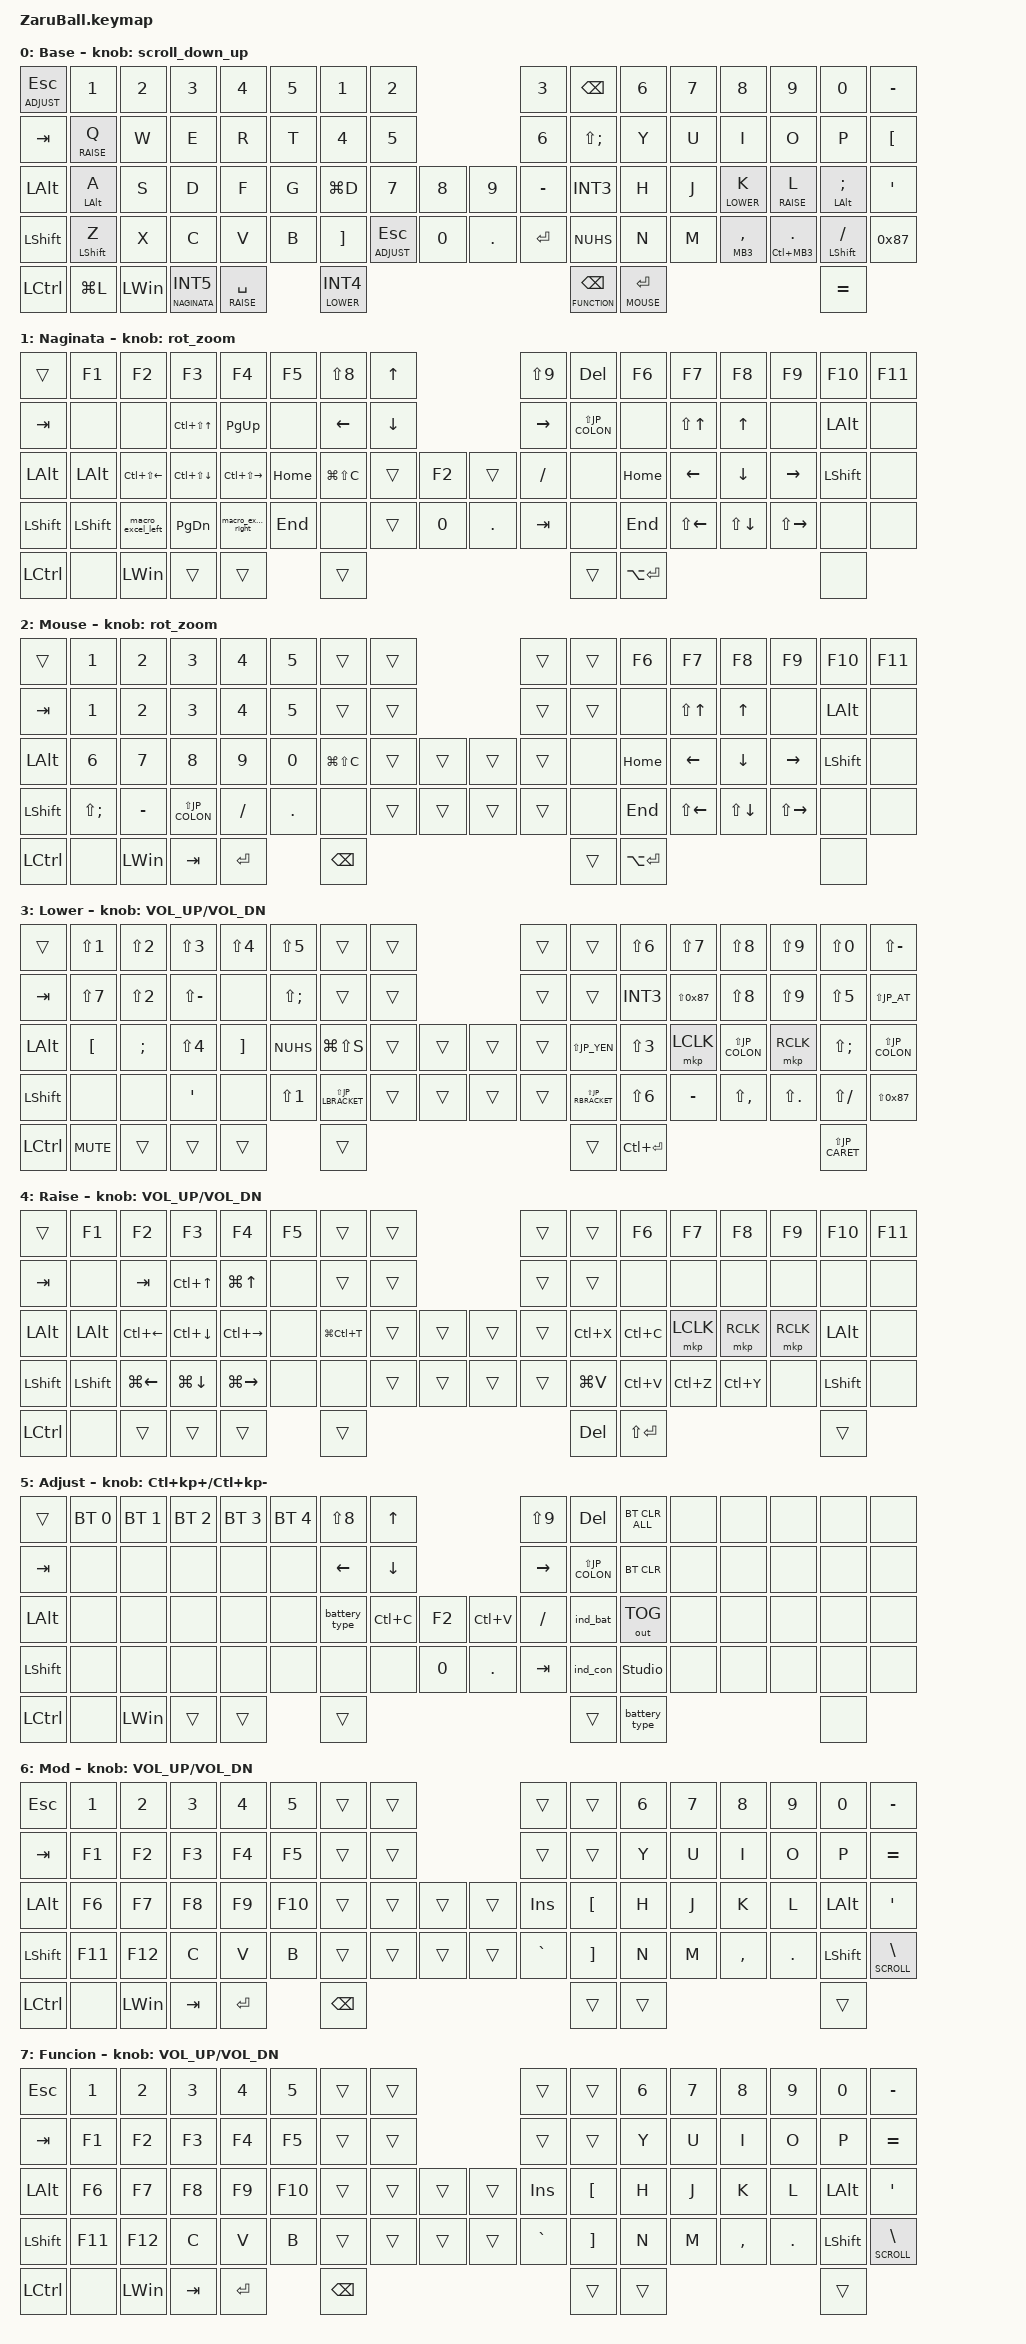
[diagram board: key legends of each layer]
//#include <dt-bindings/zmk/mouse.h>

#include <behaviors/rgbled_widget.dtsi>
#include <behaviors.dtsi>
#include <dt-bindings/zmk/bt.h>
#include <dt-bindings/zmk/keys.h>
#include <dt-bindings/zmk/outputs.h>
#include <dt-bindings/zmk/pointing.h>
//#include "behavior_battery_type.c"
//#include <behaviors/naginata.dtsi>

#include <input/processors.dtsi>
#include <dt-bindings/zmk/input_transform.h>

//&mt {
//    tapping-term-ms = <400>; // デフォルトは200msです。この数値を大きくするとHold判定が長くなります
//};

// -------------------------------------------------------------------------
// JIS変換定義 (OSが日本語配列設定の場合の出力マッピング)
// -------------------------------------------------------------------------
#define JP_AT           LBKT             // @ (USの [ キー)
#define JP_CARET        EQUAL            // ^ (USの = キー)
#define JP_YEN          INT3             // ¥ (JISの ¥ キー)
#define JP_PIPE         LS(INT3)         // | (Shift + ¥)
#define JP_COLON        SQT              // : (USの ' キー)
#define JP_LBRACKET     RBKT             // [ (USの ] キー)
#define JP_RBRACKET     NUHS             // ] (USの \ キー / Non-US #)
#define JP_UNDERSCORE   LS(INT1)         // _ (Shift + Ro)
#define JP_BACKSLASH    INT1             // \ (Roキー)

// Shiftが必要な記号
#define JP_DQUOTE       LS(N2)           // "
#define JP_AMPERSAND    LS(N6)           // &
#define JP_QUOTE        LS(N7)           // '
#define JP_LPAREN       LS(N8)           // (
#define JP_RPAREN       LS(N9)           // )
#define JP_EQUAL        LS(MINUS)        // =
#define JP_PLUS         LS(SEMI)         // +
#define JP_ASTERISK     LS(SQT)          // *
#define JP_TILD         LS(EQUAL)        // ~
#define JP_GRAVE        LS(LBKT)         // `
#define JP_LBRACE       LS(RBKT)         // {
#define JP_RBRACE       LS(NUHS)         // }

// -------------------------------------------------------------------------
// レイヤー定義
// -------------------------------------------------------------------------
#define BASE     0
#define NAGINATA 1
#define MOUSE    2
#define LOWER    3
#define RAISE    4
#define ADJUST   5
#define MOD      6
#define SCROLL   3
#define FUNCTION 7

// スクロール量の設定
#define ZMK_POINTING_DEFAULT_SCRL_VAL 100

&trackball_listener {
    input-processors = <&zip_xy_transform (INPUT_TRANSFORM_XY_SWAP | INPUT_TRANSFORM_Y_INVERT | INPUT_TRANSFORM_X_INVERT)
                        &zip_xy_scaler 2 3>;

    scroller {
        layers = <SCROLL>;
        input-processors = <
                            &zip_xy_transform (INPUT_TRANSFORM_XY_SWAP | INPUT_TRANSFORM_X_INVERT)
                            //&zip_xy_transform INPUT_TRANSFORM_Y_INVERT
                            &zip_xy_scaler 1 40
                            &zip_xy_to_scroll_mapper
                            >;
    };
};

/ {
    conditional_layers {
        compatible = "zmk,conditional-layers";

//        tri_layer {
//            if-layers = <3 4>;
//            then-layer = <5>;
//        };
    };
};

/ {
    behaviors {
        // スクロール用のbehaviorの設定
        scroll_down_up: behavior_sensor_rotate_mouse_wheel_down_up {
            compatible = "zmk,behavior-sensor-rotate";
            #sensor-binding-cells = <0>;
            bindings = <&msc SCRL_DOWN>, <&msc SCRL_UP>;
            tap-ms = <20>; // スクロールのタップ時間
        };

        td0: tap_dance_0 {
            compatible = "zmk,behavior-tap-dance";
            #binding-cells = <0>;
            tapping-term-ms = <200>;
            bindings = <&mt LALT LANG2>, <&mo RAISE>, <&mo MOUSE>;
        };

        td1: tap_dance_1 {
            compatible = "zmk,behavior-tap-dance";
            #binding-cells = <0>;
            tapping-term-ms = <200>;
            bindings = <&mt RCTL LANG1>, <&mo RAISE>, <&mo MOUSE>;
        };

        battery_type: battery_type {
        compatible = "zmk,behavior-battery-type";
        #binding-cells = <0>;
        };
        
        // 高速タイピング用のMod-Tap設定（Home Row Mods用）
        mt_tap: mod_tap_preferred {
            compatible = "zmk,behavior-hold-tap";
            #binding-cells = <2>;
            flavor = "tap-preferred";      // ★重要：他のキーと重なってもTap（文字）を優先する
            tapping-term-ms = <200>;       // 長押しの判定時間（好みで調整）
            quick-tap-ms = <150>;          // 連続タップで文字をリピートさせる
            require-prior-idle-ms = <125>; // ★超重要：直前に別のキーを打っていたら、強制的にTapにする
            bindings = <&kp>, <&kp>;
        };
        
        // KとL専用の遅いLayer-Tap
        lt_slow: layer_tap_slow {
            compatible = "zmk,behavior-hold-tap";
            #binding-cells = <2>;
            flavor = "tap-preferred"; // 短く押した時は確実にキー入力を優先
            tapping-term-ms = <250>;  // ★ここを好みの長さに設定（デフォルトは200）
            quick-tap-ms = <200>;     // 連続タップ時のレイヤー暴発防止
            require-prior-idle-ms = <125>; // ★これを追加：直前に別のキー入力があれば絶対にTap(文字)にする
            bindings = <&mo>, <&kp>;  // 長押しでレイヤー(&mo)、短押しでキー(&kp)
            
            display-name = "Layer Tap Slow";
        };

        // ダブルタップ＆ホールドで連続バックスペースになるLayer-Tap
        lt_bspc: layer_tap_backspace {
            compatible = "zmk,behavior-hold-tap";
            #binding-cells = <2>;
            flavor = "tap-preferred";
            tapping-term-ms = <200>; // 通常の長押し（Hold）判定時間
            quick-tap-ms = <200>;    // ★ここがダブルタップリピートの受付時間です
            bindings = <&mo>, <&kp>; // ※もしMod-Tapとして使う場合は <&kp>, <&kp> にしてください
        };

        // Customed Hold-Tap for SandS
        // 他キーとの同時押しのみHold(Shift), 500m以上長押しすると、Tap(Space)のリピート
        SandS: SandS {
            compatible = "zmk,behavior-hold-tap";
            #binding-cells = <2>;
            flavor = "tap-unless-interrupted";
            tapping-term-ms = <500>; // tap-unless-interruptedのため意味は無いが、設定しないとエラーはく
            quick-tap-ms = <500>;
            bindings = <&kp>, <&kp>;

            display-name = "SandS";
        };

        ht_BASE: ht_BASE {
            compatible = "zmk,behavior-hold-tap";
            #binding-cells = <2>;
            flavor = "hold-preferred";
            tapping-term-ms = <200>;
            bindings = <&BL_mod>, <&kp>;

            display-name = "ht-BL_mod";
        };
        // ▼▼▼ ここから追加 ▼▼▼
        rot_zoom: sensor_rotate_zoom {
            compatible = "zmk,behavior-sensor-rotate";
            #sensor-binding-cells = <0>;
            bindings = <&zoom_in>, <&zoom_out>;
            tap-ms = <20>;
        };
        // ▲▲▲ ここまで追加 ▲▲▲
    };
};

&sl { release-after-ms = <250>; }; // time needed for double click (for mkp_exit_AML)
/ {
    macros {
        // When in AML, move to default layer when key (except mouse button) pressed
        to_layer_0: to_layer_0 {
            compatible = "zmk,behavior-macro-one-param";
            #binding-cells = <1>;
            bindings = <&tog MOUSE &macro_param_1to1 &kp MACRO_PLACEHOLDER>;
            label = "TO_layer_0";
        };

        // When LCLK pressed, exit AML (after 250ms cause by sticky layer)
        mkp_exit_AML: mkp_exit_AML {
            compatible = "zmk,behavior-macro-one-param";
            #binding-cells = <1>;
            bindings =
                <&macro_press>,
                <&macro_param_1to1 &mkp MACRO_PLACEHOLDER>,
                <&macro_pause_for_release>,
                <&macro_release>,
                <&macro_param_1to1 &mkp MACRO_PLACEHOLDER>,
                <&macro_tap>,
                <&sl MOUSE>;

            label = "MKP_EXIT_AML";
        };

        // Support swapping into Scroll layer when AML is activated

        to_scroll_layer: to_scroll_layer {
            compatible = "zmk,behavior-macro";
            #binding-cells = <0>;
            bindings =
                <&to SCROLL>,
                <&macro_press>,
                <&mo SCROLL>,
                <&macro_pause_for_release>,
                <&macro_release>,
                <&mo SCROLL>;
        };

        BL_mod: BL_mod {
            compatible = "zmk,behavior-macro-one-param";
            #binding-cells = <1>;
            bindings =
                <&macro_press>,
                <&mo MOD &macro_param_1to1>,
                <&macro_press>,
                <&kp MACRO_PLACEHOLDER>,
                <&macro_pause_for_release>,
                <&macro_param_1to1>,
                <&macro_release>,
                <&kp MACRO_PLACEHOLDER>,
                <&macro_release>,
                <&mo MOD>;
        };

        ng_on: ng_on {
            compatible = "zmk,behavior-macro";
            #binding-cells = <0>;
            bindings = <&macro_tap &kp LANG1 &to NAGINATA>;
        };
   
        ng_off: ng_off {
            compatible = "zmk,behavior-macro";
            #binding-cells = <0>;
            bindings = <&macro_tap &kp LANG2 &to BASE>;
        };

        // ▼▼▼ ここから追加 ▼▼▼
        zoom_in: zoom_in {
            compatible = "zmk,behavior-macro";
            #binding-cells = <0>;
            bindings
                = <&macro_press &kp LCTRL>
                , <&macro_tap &msc SCRL_UP>
                , <&macro_release &kp LCTRL>;
        };

        zoom_out: zoom_out {
            compatible = "zmk,behavior-macro";
            #binding-cells = <0>;
            bindings
                = <&macro_press &kp LCTRL>
                , <&macro_tap &msc SCRL_DOWN>
                , <&macro_release &kp LCTRL>;
        };
        // ▲▲▲ ここまで追加 ▲▲▲
        // スクロールロックON → 右へ3列スクロール → スクロールロックOFF
        macro_excel_right: macro_excel_right {
            compatible = "zmk,behavior-macro";
            #binding-cells = <0>;
            wait-ms = <30>; // Excelが認識しやすいように少し長めに設定
            bindings = <&kp SLCK>, 
                       <&kp RIGHT &kp RIGHT &kp RIGHT &kp RIGHT &kp RIGHT &kp RIGHT>, // ここで移動量（列数）を調整
                       <&kp SLCK>;
        };

        // スクロールロックON → 左へ3列スクロール → スクロールロックOFF
        macro_excel_left: macro_excel_left {
            compatible = "zmk,behavior-macro";
            #binding-cells = <0>;
            wait-ms = <30>;
            bindings = <&kp SLCK>, 
                       <&kp LEFT &kp LEFT &kp LEFT &kp LEFT &kp LEFT &kp LEFT>, // ここで移動量（列数）を調整
                       <&kp SLCK>;
        };

    };
};

/ {
    keymap {
        compatible = "zmk,keymap";

        base_layer {
            display-name = "Base";
            sensor-bindings = <&scroll_down_up>;
            bindings = <
&lt ADJUST ESC    &kp N1  &kp N2      &kp N3    &kp N4     &kp N5                         &kp N1            &kp N2   &kp N3   &kp BSPC                       &kp N6        &kp N7  &kp N8             &kp N9              &kp N0    &kp MINUS
&kp TAB    &lt_slow RAISE Q  &kp W       &kp E     &kp R      &kp T                           &kp N4            &kp N5   &kp N6   &kp JP_PLUS                    &kp Y         &kp U   &kp I          &kp O               &kp P  &kp JP_AT
&kp LALT   &mt_tap LALT A    &kp S       &kp D     &kp F      &kp G      &kp LG(D)        &kp N7            &kp N8   &kp N9   &kp MINUS    &kp JP_YEN        &kp H         &kp J   &lt_slow LOWER K   &lt_slow RAISE L    &mt_tap LALT SEMI  &kp JP_COLON
&kp LSHFT  &mt_tap LSHFT Z   &kp X       &kp C     &kp V      &kp B      &kp JP_LBRACKET  &lt ADJUST ESC    &kp N0   &kp DOT  &kp RET      &kp JP_RBRACKET   &kp N         &kp M   &mt_tap MB3 COMMA  &mt_tap LC(MB3) DOT &mt_tap LSHFT FSLH  &kp 0x87
&kp LCTRL  &kp LG(L)  &kp LWIN  &lt NAGINATA INT5  &lt RAISE SPACE  &lt LOWER INT4                                                        &lt_bspc FUNCTION BSPC  &lt MOUSE RET                                            &kp JP_CARET
            >;
        };

        naginata_layer {
            display-name = "Naginata";
            // ▼ 修正: 作成した rot_zoom を割り当て
            sensor-bindings = <&rot_zoom>;
            bindings = <
&trans     &kp F1     &kp F2               &kp F3            &kp F4              &kp F5                      &kp LS(N8) &kp UP   &kp LS(N9) &kp DEL                     &kp F6          &kp F7           &kp F8            &kp F9         &kp F10     &kp F11
&kp TAB    &none      &none                &kp LC(LS(UP))    &kp PG_UP           &none                       &kp LEFT   &kp DOWN &kp RIGHT  &kp LS(JP_COLON)            &none           &kp LS(UP)       &kp UP            &none          &kp LALT    &none
&kp LALT   &kp LALT   &kp LC(LS(LEFT))     &kp LC(LS(DOWN))  &kp LC(LS(RIGHT))   &kp HOME &kp LG(LS(C))      &trans     &kp F2   &trans     &kp FSLH          &none     &kp HOME        &kp LEFT         &kp DOWN          &kp RIGHT      &kp LSHFT   &none
&kp LSHFT  &kp LSHFT  &macro_excel_left    &kp PG_DN         &macro_excel_right  &kp END  &none              &trans     &kp N0   &kp DOT    &kp TAB           &none     &kp END         &kp LS(LEFT)     &kp LS(DOWN)      &kp LS(RIGHT)  &none       &none
&kp LCTRL           &none  &kp LWIN    &trans     &trans    &trans                                                                                            &trans   &kp LA(ENTER)                                                         &none
            >;
        };

        mouse_layer {
            display-name = "Mouse";
            sensor-bindings = <&rot_zoom>;
            bindings = <
&trans     &kp N1       &kp N2      &kp N3           &kp N4           &kp N5                      &trans &trans &trans &trans             &kp F6          &kp F7           &kp F8            &kp F9         &kp F10     &kp F11
&kp TAB    &kp N1       &kp N2      &kp N3           &kp N4           &kp N5                       &trans &trans &trans &trans             &none           &kp LS(UP)       &kp UP            &none          &kp LALT    &none
&kp LALT   &kp N6       &kp N7      &kp N8           &kp N9           &kp N0   &kp LG(LS(C))      &trans &trans &trans &trans   &none     &kp HOME        &kp LEFT         &kp DOWN          &kp RIGHT      &kp LSHFT   &none
&kp LSHFT  &kp LS(SEMI) &kp MINUS   &kp LS(JP_COLON) &kp FSLH         &kp DOT  &none              &trans &trans &trans &trans   &none     &kp END         &kp LS(LEFT)     &kp LS(DOWN)      &kp LS(RIGHT)  &none       &none
&kp LCTRL           &none  &kp LWIN    &kp TAB     &kp RET    &kp BSPC                                                                        &trans   &kp LA(ENTER)                                                         &none
            >;
        };

        lower_layer {
            display-name = "Lower";
            sensor-bindings = <&inc_dec_kp C_VOL_UP C_VOL_DN>;
            bindings = <
&trans     &kp LS(N1)    &kp LS(N2)    &kp LS(N3)    &kp LS(N4)      &kp LS(N5)                           &trans &trans &trans &trans                       &kp LS(N6)   &kp LS(N7)   &kp LS(N8)       &kp LS(N9)  &kp LS(N0)    &kp LS(MINUS)
&kp TAB    &kp LS(N7)    &kp LS(N2)    &kp LS(MINUS) &none           &kp LS(SEMI)                         &trans &trans &trans &trans                       &kp JP_YEN   &kp LS(0x87) &kp LS(N8)       &kp LS(N9)  &kp LS(N5)    &kp LS(JP_AT)
&kp LALT   &kp JP_AT     &kp SEMI      &kp LS(N4)    &kp JP_LBRACKET &kp JP_RBRACKET &kp LG(LS(S))        &trans &trans &trans &trans   &kp LS(JP_YEN)      &kp LS(N3)   &mkp LCLK    &kp LS(JP_COLON) &mkp RCLK   &kp LS(SEMI)  &kp LS(JP_COLON)
&kp LSHFT  &none         &none         &kp JP_COLON  &none           &kp LS(N1)      &kp LS(JP_LBRACKET)  &trans &trans &trans &trans   &kp LS(JP_RBRACKET) &kp LS(N6)   &kp MINUS    &kp LS(COMMA)    &kp LS(DOT) &kp LS(FSLH)  &kp LS(0x87)
&kp LCTRL                &kp C_MUTE    &trans        &trans        &trans        &trans                                 &trans   &kp LC(ENTER)                                     &kp LS(JP_CARET)
            >;
        };

        raise_layer {
            display-name = "Raise";
            sensor-bindings = <&inc_dec_kp C_VOL_UP C_VOL_DN>;
            bindings = <
&trans    &kp F1     &kp F2         &kp F3         &kp F4         &kp F5                    &trans &trans &trans &trans              &kp F6     &kp F7      &kp F8       &kp F9     &kp F10    &kp F11
&kp TAB   &none      &kp TAB        &kp LC(UP)     &kp LG(UP)     &none                     &trans &trans &trans &trans              &none     &none     &none     &none     &none   &none
&kp LALT  &kp LALT   &kp LC(LEFT)   &kp LC(DOWN)   &kp LC(RIGHT)  &none    &kp LG(LC(T))    &trans &trans &trans &trans   &kp LC(X)  &kp LC(C)  &mkp LCLK  &mkp RCLK   &mkp RCLK    &kp LALT      &none
&kp LSHFT &kp LSHFT  &kp LG(LEFT)   &kp LG(DOWN)   &kp LG(RIGHT)  &none    &none            &trans &trans &trans &trans   &kp LG(V)  &kp LC(V)  &kp LC(Z)  &kp LC(Y)   &none        &kp LSHFT      &none
&kp LCTRL         &none  &trans     &trans     &trans          &trans                                          &kp DEL     &kp LS(ENTER)                                         &trans
            >;
        };

        adjust_layer {
            display-name = "Adjust";
            // 時計回り: 拡大 (Ctrl + テンキーの+)
            // 反時計回り: 縮小 (Ctrl + テンキーの-)
            sensor-bindings = <&inc_dec_kp LC(KP_PLUS) LC(KP_MINUS)>;
            bindings = <
&trans  &bt BT_SEL 0  &bt BT_SEL 1  &bt BT_SEL 2  &bt BT_SEL 3  &bt BT_SEL 4                   &kp LS(N8) &kp UP   &kp LS(N9) &kp DEL                     &bt BT_CLR_ALL  &none  &none  &none  &none  &none
&kp TAB    &none      &none         &none         &none         &none                          &kp LEFT   &kp DOWN &kp RIGHT  &kp LS(JP_COLON)            &bt BT_CLR      &none  &none  &none  &none  &none
&kp LALT   &none      &none         &none         &none         &none          &battery_type   &kp LC(C)  &kp F2   &kp LC(V)  &kp FSLH           &ind_bat &out OUT_TOG    &none  &none  &none  &none  &none
&kp LSHFT  &none      &none         &none         &none         &none          &none           &none      &kp N0   &kp DOT    &kp TAB            &ind_con &studio_unlock  &none  &none  &none  &none  &none
&kp LCTRL           &none  &kp LWIN    &trans     &trans    &trans                                                                               &trans   &battery_type                               &none
            >;
        };

        mod_layer {
            display-name = "Mod";
            sensor-bindings = <&inc_dec_kp C_VOL_UP C_VOL_DN>;
            bindings = <
&kp ESC    &kp N1  &kp N2    &kp N3  &kp N4  &kp N5           &trans &trans &trans &trans             &kp N6    &kp N7  &kp N8  &kp N9     &kp N0   &kp MINUS
&kp TAB    &kp F1  &kp F2    &kp F3  &kp F4  &kp F5           &trans &trans &trans &trans             &kp Y     &kp U   &kp I   &kp O      &kp P    &kp EQUAL
&kp LALT   &kp F6  &kp F7    &kp F8  &kp F9  &kp F10          &trans &trans &trans &trans  &kp INS    &kp LBKT  &kp H   &kp J   &kp K      &kp L    &kp LALT   &kp SQT
&kp LSHFT  &kp F11 &kp F12   &kp C   &kp V   &kp B            &trans &trans &trans &trans  &kp GRAVE  &kp RBKT  &kp N   &kp M   &kp COMMA  &kp DOT  &kp LSHFT   &lt SCROLL BACKSLASH
&kp LCTRL             &none  &kp LWIN    &kp TAB     &kp RET    &kp BSPC                                      &trans    &trans                              &trans
            >;
        };

        fuction_layer {
            display-name = "Funcion";
            sensor-bindings = <&inc_dec_kp C_VOL_UP C_VOL_DN>;
            bindings = <
&kp ESC    &kp N1  &kp N2    &kp N3  &kp N4  &kp N5           &trans &trans &trans &trans             &kp N6    &kp N7  &kp N8  &kp N9     &kp N0   &kp MINUS
&kp TAB    &kp F1  &kp F2    &kp F3  &kp F4  &kp F5           &trans &trans &trans &trans             &kp Y     &kp U   &kp I   &kp O      &kp P    &kp EQUAL
&kp LALT   &kp F6  &kp F7    &kp F8  &kp F9  &kp F10          &trans &trans &trans &trans  &kp INS    &kp LBKT  &kp H   &kp J   &kp K      &kp L    &kp LALT   &kp SQT
&kp LSHFT  &kp F11 &kp F12   &kp C   &kp V   &kp B            &trans &trans &trans &trans  &kp GRAVE  &kp RBKT  &kp N   &kp M   &kp COMMA  &kp DOT  &kp LSHFT   &lt SCROLL BACKSLASH
&kp LCTRL             &none  &kp LWIN    &kp TAB     &kp RET    &kp BSPC                                      &trans    &trans                              &trans
            >;
        };

        // Extra layer can be added in ZMK STUDIO

        extra1 { status = "reserved"; };

        extra2 { status = "reserved"; };
    };
};
